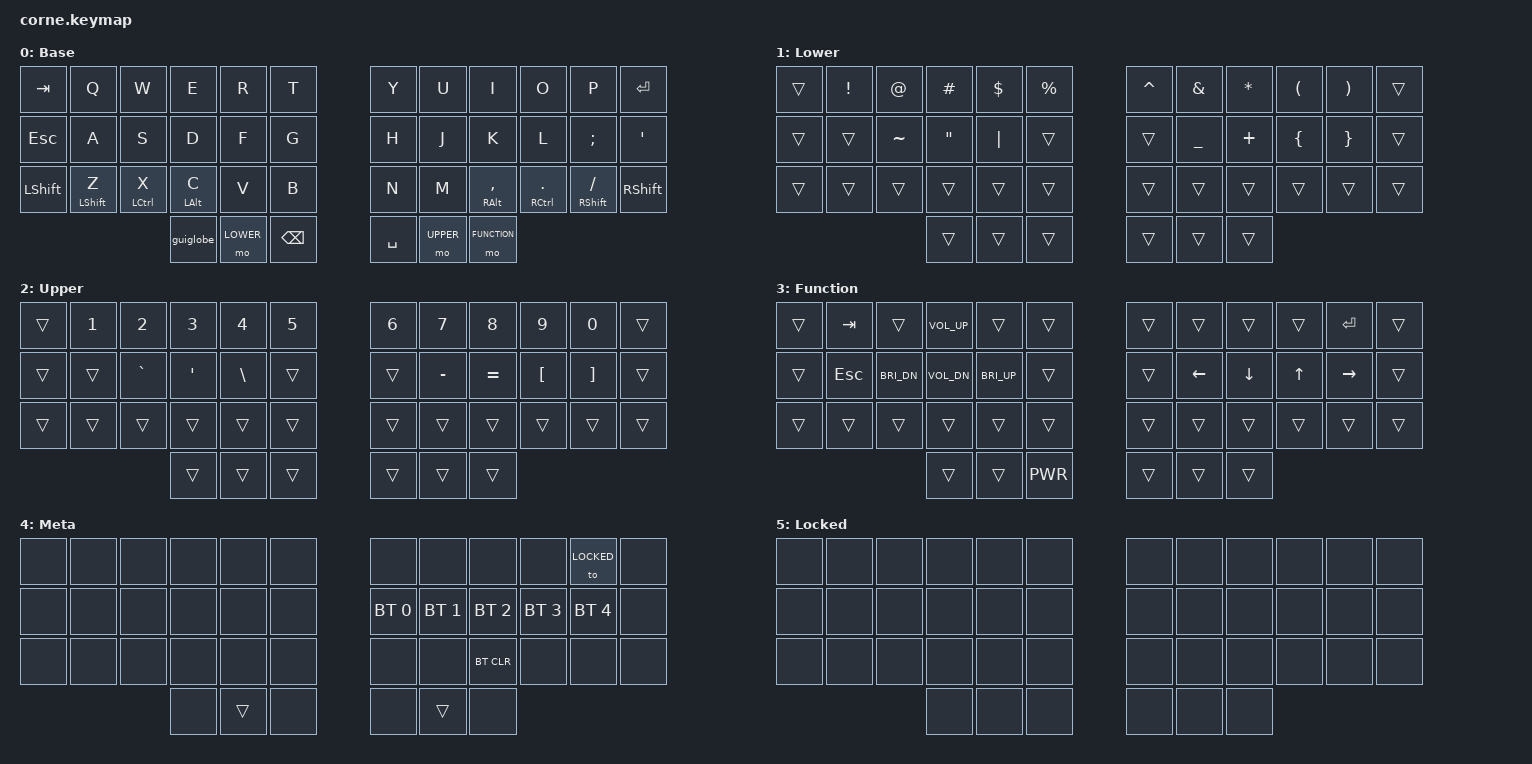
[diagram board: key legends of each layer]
#include <dt-bindings/zmk/bt.h>
#include <dt-bindings/zmk/keys.h>

#include "keymap.dtsi"

/ {
    UNLOCK_COMBO(<10 37 40>)

    keymap {
        compatible = "zmk,keymap";

        base {
            label = "Base";
            bindings = <
&kp TAB   &kp Q       &kp W       &kp E      &kp R     &kp T    &kp Y     &kp U     &kp I          &kp O         &kp P           &kp RET
&kp ESC   &kp A       &kp S       &kp D      &kp F     &kp G    &kp H     &kp J     &kp K          &kp L         &kp SEMI        &kp SQT
&kp LSHFT &mt LSHFT Z &mt LCTRL X &mt LALT C &kp V     &kp B    &kp N     &kp M     &mt RALT COMMA &mt RCTRL DOT &mt RSHFT SLASH &kp RSHFT
                                  &guiglobe  &mo LOWER &kp BSPC &kp SPACE &mo UPPER &mo FUNCTION
            >;
        };

        lower {
            label = "Lower";
            bindings = <
&trans &kp EXCL &kp AT    &kp HASH &kp DLLR &kp PRCNT &kp CARET &kp AMPS  &kp ASTRK &kp LPAR &kp RPAR &trans
&trans &trans   &kp TILDE &kp DQT  &kp PIPE &trans    &trans    &kp UNDER &kp PLUS  &kp LBRC &kp RBRC &trans
&trans &trans   &trans    &trans   &trans   &trans    &trans    &trans    &trans    &trans   &trans   &trans
                          &trans   &trans   &trans    &trans    &trans    &trans
            >;
        };

        upper {
            label = "Upper";
            bindings = <
&trans &kp N1 &kp N2    &kp N3  &kp N4   &kp N5 &kp N6 &kp N7    &kp N8    &kp N9   &kp N0   &trans
&trans &trans &kp GRAVE &kp SQT &kp BSLH &trans &trans &kp MINUS &kp EQUAL &kp LBKT &kp RBKT &trans
&trans &trans &trans    &trans  &trans   &trans &trans &trans    &trans    &trans   &trans   &trans
                        &trans  &trans   &trans &trans &trans    &trans
            >;
        };

        function {
            label = "Function";
            bindings = <
&trans &kp TAB &trans       &kp C_VOL_UP &trans       &trans    &trans &trans   &trans   &trans &kp ENTER &trans
&trans &kp ESC &kp C_BRI_DN &kp C_VOL_DN &kp C_BRI_UP &trans    &trans &kp LEFT &kp DOWN &kp UP &kp RIGHT &trans
&trans &trans  &trans       &trans       &trans       &trans    &trans &trans   &trans   &trans &trans    &trans
                            &trans       &trans       &kp C_PWR &trans &trans   &trans
            >;
        };

        meta {
            label = "Meta";
            bindings = <
&none &none &none &none &none  &none &none        &none        &none        &none        &to LOCKED   &none
&none &none &none &none &none  &none &bt BT_SEL 0 &bt BT_SEL 1 &bt BT_SEL 2 &bt BT_SEL 3 &bt BT_SEL 4 &none
&none &none &none &none &none  &none &none        &none        &bt BT_CLR   &none        &none        &none
                  &none &trans &none &none        &trans       &none
            >;
        };

        locked {
            label = "Locked";
            bindings = <
&none &none &none &none &none &none &none &none &none &none &none &none
&none &none &none &none &none &none &none &none &none &none &none &none
&none &none &none &none &none &none &none &none &none &none &none &none
                  &none &none &none &none &none &none
            >;
        };
    };
};
